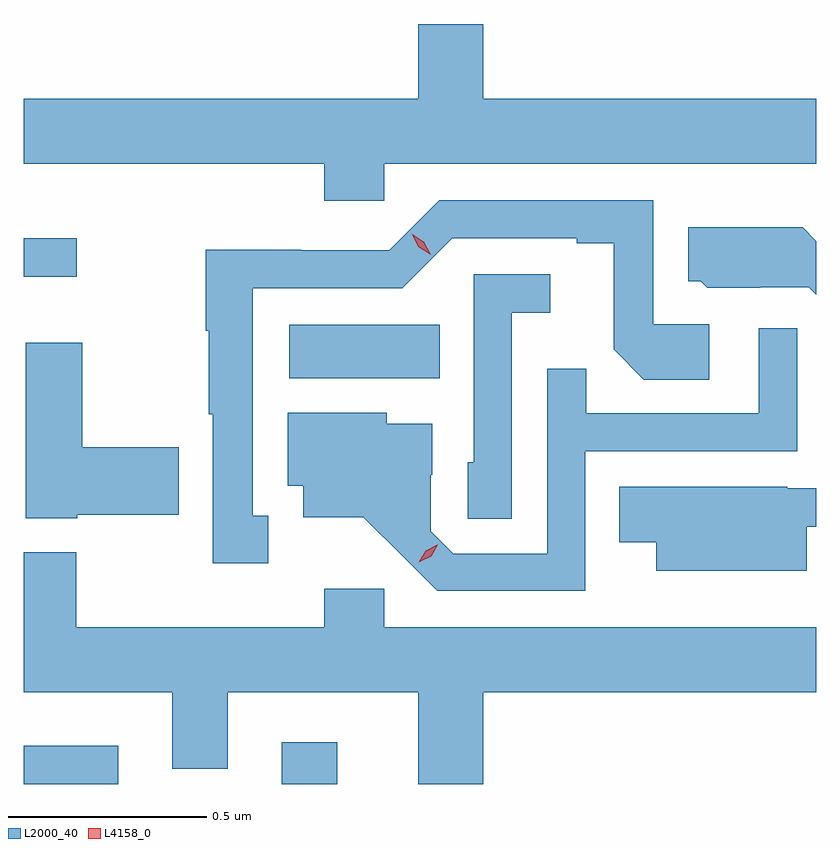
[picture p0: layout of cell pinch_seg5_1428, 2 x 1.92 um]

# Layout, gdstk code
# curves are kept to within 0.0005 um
import gdstk
lib = gdstk.Library(unit=1e-6, precision=1e-09)
def R(c, l, rs):  # rectangles x0, y0, x1, y1
    for r in rs: c.add(gdstk.rectangle(r[:2], r[2:], *l))
def P(c, l, *ps):  # polygons
    for p in ps: c.add(gdstk.Polygon(p, *l))
L2000_40 = (2000, 40)
L4158_0 = (4158, 0)

pinch_seg5_1428 = lib.new_cell('pinch_seg5_1428')
R(pinch_seg5_1428, L2000_40, [(128.048,911.14,128.287,911.236), (128.699,911.14,128.839,911.245), (128.718,912.164,129.098,912.298), (128.048,912.42,128.182,912.516)])
P(pinch_seg5_1428, L2000_40, [(128.958,912.704),(130.048,912.704),(130.048,912.868),(129.208,912.868),(129.208,913.057),(129.044,913.057),(129.044,912.868),(128.048,912.868),(128.048,912.704),(128.807,912.704),(128.807,912.611),(128.958,912.611)],
  [(128.665,911.817),(128.626,911.817),(128.626,912.39),(129.003,912.39),(129.129,912.516),(129.443,912.516),(129.443,912.504),(129.537,912.504),(129.537,912.236),(129.613,912.16),(129.778,912.16),(129.778,912.3),(129.636,912.3),(129.636,912.612),(129.096,912.612),(128.97,912.486),(128.748,912.486),(128.748,912.488),(128.508,912.488),(128.508,912.283),(128.515,912.283),(128.515,912.073),(128.525,912.073),(128.525,911.697),(128.665,911.697)],
  [(130.048,912.509),(130.013,912.544),(129.725,912.544),(129.725,912.408),(129.756,912.408),(129.772,912.392),(129.906,912.392),(129.906,912.393),(130.029,912.393),(130.048,912.374)],
  [(129.279,912.329),(129.376,912.329),(129.376,912.426),(129.183,912.426),(129.183,911.952),(129.168,911.952),(129.168,911.809),(129.279,911.809)],
  [(129.465,911.979),(129.999,911.979),(129.999,912.289),(129.903,912.289),(129.903,912.075),(129.467,912.075),(129.467,912.188),(129.369,912.188),(129.369,911.721),(129.132,911.721),(129.075,911.778),(129.075,911.92),(129.079,911.92),(129.079,912.049),(128.964,912.049),(128.964,912.076),(128.714,912.076),(128.714,911.892),(128.753,911.892),(128.753,911.813),(128.905,911.813),(129.092,911.628),(129.465,911.628)],
  [(128.184,911.819),(128.44,911.819),(128.44,911.99),(128.196,911.99),(128.196,912.253),(128.054,912.253),(128.054,911.81),(128.184,911.81)],
  [(130.024,911.789),(130.048,911.789),(130.048,911.886),(129.974,911.886),(129.974,911.89),(129.55,911.89),(129.55,911.75),(129.644,911.75),(129.644,911.678),(130.024,911.678)],
  [(129.208,911.372),(130.048,911.372),(130.048,911.536),(128.958,911.536),(128.958,911.632),(128.807,911.632),(128.807,911.536),(128.181,911.536),(128.181,911.725),(128.048,911.725),(128.048,911.372),(128.423,911.372),(128.423,911.178),(128.563,911.178),(128.563,911.372),(129.044,911.372),(129.044,911.14),(129.208,911.14)])
P(pinch_seg5_1428, L4158_0, [(129.075,912.475),(129.043,912.495),(129.027,912.528),(129.027,912.528),(129.027,912.528),(129.058,912.508),(129.075,912.475),(129.075,912.475)],
  [(129.045,911.699),(129.045,911.699),(129.062,911.728),(129.092,911.744),(129.093,911.744),(129.093,911.743),(129.076,911.714),(129.045,911.699)])

lib.write_gds('pinch_seg5_1428.gds')
